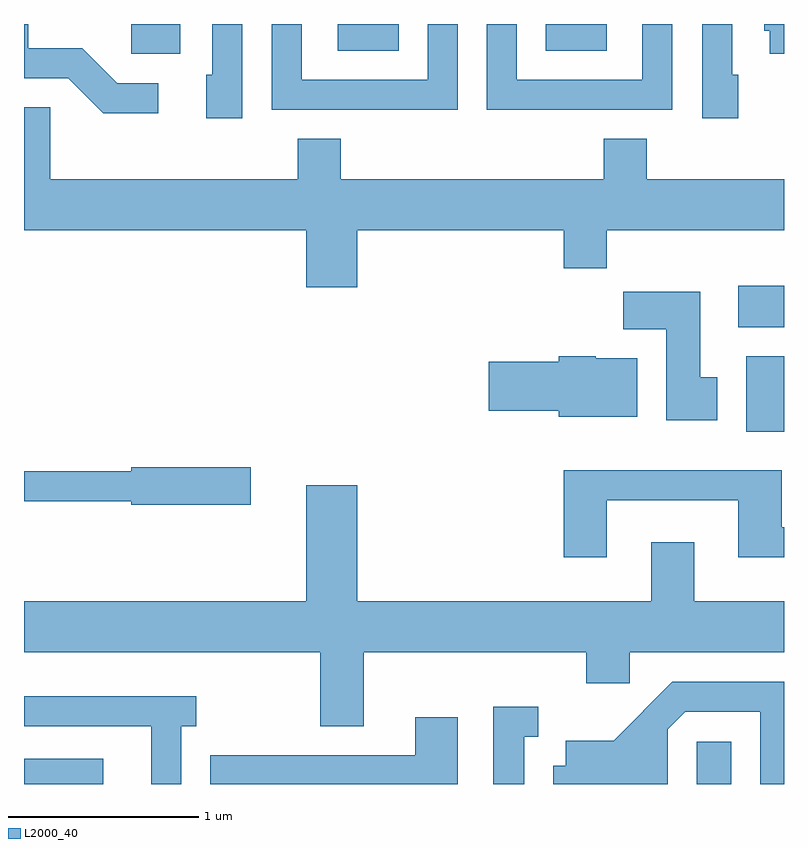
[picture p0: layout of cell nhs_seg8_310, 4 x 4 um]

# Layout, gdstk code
import gdstk
lib = gdstk.Library(unit=1e-6, precision=1e-09)
def R(c, l, rs):  # rectangles x0, y0, x1, y1
    for r in rs: c.add(gdstk.rectangle(r[:2], r[2:], *l))
def P(c, l, *ps):  # polygons
    for p in ps: c.add(gdstk.Polygon(p, *l))
L2000_40 = (2000, 40)

nhs_seg8_310 = lib.new_cell('nhs_seg8_310')
R(nhs_seg8_310, L2000_40, [(193.611,1882.342,194.028,1882.474), (197.151,1882.342,197.334,1882.564), (197.411,1884.196,197.611,1884.594), (197.371,1884.746,197.611,1884.964), (194.176,1886.186,194.434,1886.342), (195.261,1886.201,195.584,1886.342), (196.356,1886.201,196.679,1886.342)])
P(nhs_seg8_310, L2000_40, [(195.894,1886.342),(195.736,1886.342),(195.736,1886.049),(195.074,1886.049),(195.074,1886.342),(194.916,1886.342),(194.916,1885.891),(195.894,1885.891)],
  [(194.318,1886.029),(194.102,1886.029),(193.917,1886.214),(193.634,1886.214),(193.634,1886.342),(193.611,1886.342),(193.611,1886.056),(193.844,1886.056),(194.029,1885.871),(194.318,1885.871)],
  [(197.024,1886.342),(196.866,1886.342),(196.866,1886.049),(196.204,1886.049),(196.204,1886.342),(196.046,1886.342),(196.046,1885.891),(197.024,1885.891)],
  [(197.611,1886.342),(197.506,1886.342),(197.506,1886.306),(197.536,1886.306),(197.536,1886.186),(197.611,1886.186)],
  [(197.369,1886.074),(197.339,1886.074),(197.339,1886.342),(197.181,1886.342),(197.181,1885.846),(197.369,1885.846)],
  [(194.759,1886.342),(194.601,1886.342),(194.601,1886.074),(194.571,1886.074),(194.571,1885.846),(194.759,1885.846)],
  [(195.364,1885.256),(196.451,1885.256),(196.451,1885.056),(196.679,1885.056),(196.679,1885.256),(197.611,1885.256),(197.611,1885.524),(196.889,1885.524),(196.889,1885.739),(196.661,1885.739),(196.661,1885.524),(195.279,1885.524),(195.279,1885.739),(195.051,1885.739),(195.051,1885.524),(193.749,1885.524),(193.749,1885.904),(193.611,1885.904),(193.611,1885.256),(195.096,1885.256),(195.096,1884.956),(195.364,1884.956)],
  [(197.259,1884.484),(197.169,1884.484),(197.169,1884.934),(196.766,1884.934),(196.766,1884.736),(196.991,1884.736),(196.991,1884.256),(197.259,1884.256)],
  [(196.839,1884.584),(196.62,1884.584),(196.62,1884.594),(196.426,1884.594),(196.426,1884.564),(196.056,1884.564),(196.056,1884.306),(196.426,1884.306),(196.426,1884.276),(196.839,1884.276)],
  [(194.804,1884.009),(194.176,1884.009),(194.176,1883.989),(193.611,1883.989),(193.611,1883.831),(194.176,1883.831),(194.176,1883.811),(194.804,1883.811)],
  [(196.679,1883.836),(197.371,1883.836),(197.371,1883.536),(197.611,1883.536),(197.611,1883.694),(197.599,1883.694),(197.599,1883.994),(196.451,1883.994),(196.451,1883.536),(196.679,1883.536)],
  [(195.399,1883.036),(196.571,1883.036),(196.571,1882.871),(196.799,1882.871),(196.799,1883.036),(197.611,1883.036),(197.611,1883.304),(197.139,1883.304),(197.139,1883.614),(196.911,1883.614),(196.911,1883.304),(195.364,1883.304),(195.364,1883.914),(195.096,1883.914),(195.096,1883.304),(193.611,1883.304),(193.611,1883.036),(195.171,1883.036),(195.171,1882.646),(195.399,1882.646)],
  [(196.999,1882.629),(197.092,1882.721),(197.486,1882.721),(197.486,1882.342),(197.611,1882.342),(197.611,1882.879),(197.024,1882.879),(196.714,1882.569),(196.461,1882.569),(196.461,1882.439),(196.396,1882.439),(196.396,1882.342),(196.999,1882.342)],
  [(194.439,1882.646),(194.518,1882.646),(194.518,1882.804),(193.611,1882.804),(193.611,1882.646),(194.281,1882.646),(194.281,1882.342),(194.439,1882.342)],
  [(196.244,1882.591),(196.318,1882.591),(196.318,1882.749),(196.081,1882.749),(196.081,1882.342),(196.244,1882.342)],
  [(195.894,1882.694),(195.671,1882.694),(195.671,1882.494),(194.591,1882.494),(194.591,1882.342),(195.894,1882.342)])

lib.write_gds('nhs_seg8_310.gds')
